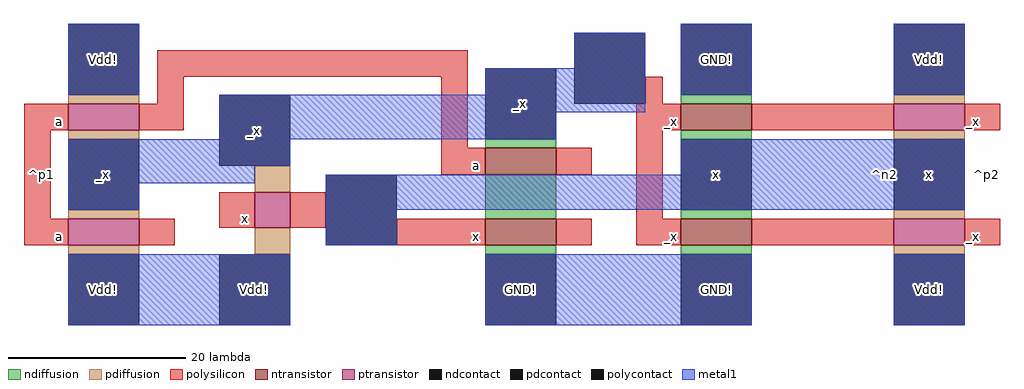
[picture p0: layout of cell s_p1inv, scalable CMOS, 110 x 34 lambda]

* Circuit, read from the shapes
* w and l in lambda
.subckt s_p1inv GND! Vdd! _x a x
M1 n1 x GND! VSUBS nfet w=8 l=3
M2 _x a n1 VSUBS nfet w=8 l=3
M3 x _x GND! VSUBS nfet w=8 l=3 m=2
M4 _x a Vdd! NWELL pfet w=8 l=3 m=2
M5 _x x Vdd! NWELL pfet w=4 l=4
M6 x _x Vdd! NWELL pfet w=8 l=3 m=2
.ends

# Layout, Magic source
magic
tech scmos
<< ndiffusion >>
rect -65 -5 -57 -4
rect -87 -10 -79 -9
rect -87 -18 -79 -13
rect -65 -9 -57 -8
rect -65 -18 -57 -17
rect -87 -22 -79 -21
rect -65 -22 -57 -21
<< pdiffusion >>
rect -134 -5 -126 -4
rect -134 -9 -126 -8
rect -113 -15 -109 -12
rect -41 -5 -33 -4
rect -134 -18 -126 -17
rect -134 -22 -126 -21
rect -113 -22 -109 -19
rect -41 -9 -33 -8
rect -41 -18 -33 -17
rect -41 -22 -33 -21
<< ntransistor >>
rect -65 -8 -57 -5
rect -87 -13 -79 -10
rect -87 -21 -79 -18
rect -65 -21 -57 -18
<< ptransistor >>
rect -134 -8 -126 -5
rect -41 -8 -33 -5
rect -134 -21 -126 -18
rect -113 -19 -109 -15
rect -41 -21 -33 -18
<< polysilicon >>
rect -124 -2 -89 1
rect -124 -5 -121 -2
rect -139 -8 -134 -5
rect -126 -8 -121 -5
rect -139 -18 -136 -8
rect -92 -10 -89 -2
rect -69 -5 -67 -2
rect -70 -8 -65 -5
rect -57 -8 -41 -5
rect -33 -8 -29 -5
rect -92 -13 -87 -10
rect -79 -13 -75 -10
rect -139 -21 -134 -18
rect -126 -21 -122 -18
rect -117 -19 -113 -15
rect -109 -19 -105 -15
rect -70 -18 -67 -8
rect -97 -21 -87 -18
rect -79 -21 -75 -18
rect -70 -21 -65 -18
rect -57 -21 -41 -18
rect -33 -21 -29 -18
<< ndcontact >>
rect -87 -9 -79 -1
rect -65 -4 -57 4
rect -65 -17 -57 -9
rect -87 -30 -79 -22
rect -65 -30 -57 -22
<< pdcontact >>
rect -134 -4 -126 4
rect -134 -17 -126 -9
rect -117 -12 -109 -4
rect -41 -4 -33 4
rect -41 -17 -33 -9
rect -134 -30 -126 -22
rect -117 -30 -109 -22
rect -41 -30 -33 -22
<< polycontact >>
rect -77 -5 -69 3
rect -105 -21 -97 -13
<< metal1 >>
rect -134 -4 -126 4
rect -77 -1 -69 3
rect -87 -4 -69 -1
rect -65 -4 -57 4
rect -41 -4 -33 4
rect -117 -6 -69 -4
rect -117 -9 -79 -6
rect -134 -12 -109 -9
rect -134 -14 -113 -12
rect -65 -13 -33 -9
rect -134 -17 -126 -14
rect -105 -17 -33 -13
rect -105 -21 -97 -17
rect -134 -30 -109 -22
rect -87 -30 -57 -22
rect -41 -30 -33 -22
<< labels >>
rlabel polysilicon -88 -12 -88 -12 1 a
rlabel polysilicon -88 -20 -88 -20 1 x
rlabel metal1 -83 -5 -83 -5 1 _x
rlabel metal1 -83 -26 -83 -26 1 GND!
rlabel polysilicon -114 -18 -114 -18 1 x
rlabel metal1 -113 -8 -113 -8 1 _x
rlabel metal1 -113 -26 -113 -26 1 Vdd!
rlabel ndcontact -61 -13 -61 -13 1 x
rlabel ndcontact -61 -26 -61 -26 1 GND!
rlabel ndcontact -61 0 -61 0 5 GND!
rlabel polysilicon -66 -20 -66 -20 3 _x
rlabel polysilicon -66 -7 -66 -7 3 _x
rlabel polysilicon -32 -20 -32 -20 1 _x
rlabel polysilicon -32 -7 -32 -7 1 _x
rlabel pdcontact -37 0 -37 0 5 Vdd!
rlabel pdcontact -37 -13 -37 -13 1 x
rlabel pdcontact -37 -26 -37 -26 1 Vdd!
rlabel metal1 -130 -13 -130 -13 1 _x
rlabel metal1 -130 -26 -130 -26 1 Vdd!
rlabel metal1 -130 0 -130 0 5 Vdd!
rlabel polysilicon -135 -20 -135 -20 1 a
rlabel polysilicon -135 -7 -135 -7 1 a
rlabel space -140 -30 -134 4 7 ^p1
rlabel space -33 -30 -28 4 3 ^p2
rlabel space -57 -31 -27 5 3 ^n2
<< end >>
